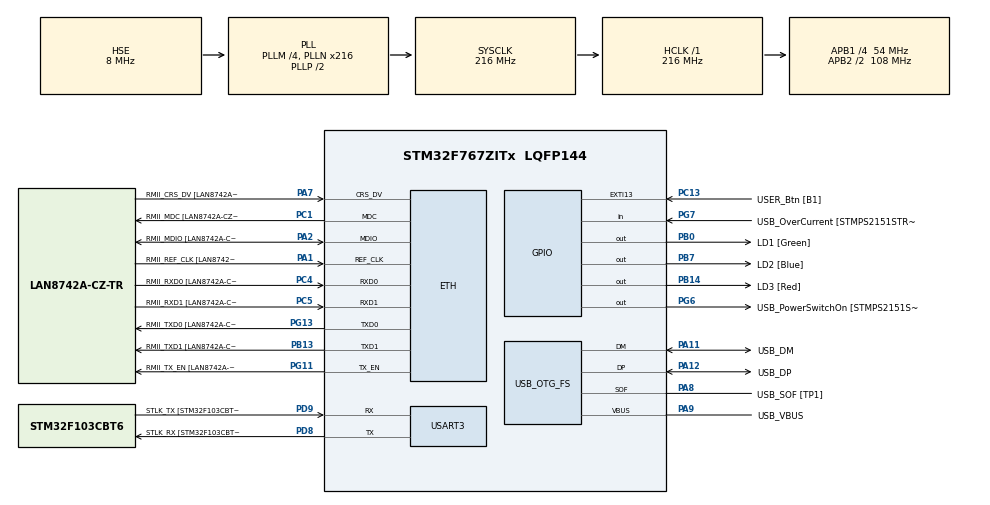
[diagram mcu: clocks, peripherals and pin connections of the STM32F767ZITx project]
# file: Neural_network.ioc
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CORTEX_M7.CPU_DCache=Enabled
CORTEX_M7.CPU_ICache=Enabled
ETH.MediaInterface=HAL_ETH_RMII_MODE
ETH.PHY_Name=LAN8742A_PHY_ADDRESS
ETH.PHY_Value=0
ETH.PhyAddress=0
Mcu.Family=STM32F7
Mcu.Name=STM32F767ZITx
Mcu.Package=LQFP144
NVIC.PriorityGroup=NVIC_PRIORITYGROUP_4
NVIC.TIM8_TRG_COM_TIM14_IRQn=true\:0\:0\:false\:false\:true\:true\:true\:true
NVIC.TIM8_UP_TIM13_IRQn=true\:0\:0\:false\:false\:true\:true\:true\:true
PA1.GPIO_Label=RMII_REF_CLK [LAN8742A-CZ-TR_REFCLK0]
PA1.Mode=RMII
PA1.Signal=ETH_REF_CLK
PA10.GPIO_Label=USB_ID
PA10.Signal=USB_OTG_FS_ID
PA11.GPIO_Label=USB_DM
PA11.Mode=Device_Only
PA11.Signal=USB_OTG_FS_DM
PA12.GPIO_Label=USB_DP
PA12.Mode=Device_Only
PA12.Signal=USB_OTG_FS_DP
PA13.GPIO_Label=TMS
PA13.Mode=Serial_Wire
PA13.Signal=SYS_JTMS-SWDIO
PA14.GPIO_Label=TCK
PA14.Mode=Serial_Wire
PA14.Signal=SYS_JTCK-SWCLK
PA2.GPIO_Label=RMII_MDIO [LAN8742A-CZ-TR_MDIO]
PA2.Mode=RMII
PA2.Signal=ETH_MDIO
PA7.GPIO_Label=RMII_CRS_DV [LAN8742A-CZ-TR_CRS_DV]
PA7.Mode=RMII
PA7.Signal=ETH_CRS_DV
PA8.GPIO_Label=USB_SOF [TP1]
PA8.Mode=Activate_SOF_FS
PA8.Signal=USB_OTG_FS_SOF
PA9.GPIO_Label=USB_VBUS
PA9.Mode=Activate_VBUS
PA9.Signal=USB_OTG_FS_VBUS
PB0.GPIO_Label=LD1 [Green]
PB0.Signal=GPIO_Output
PB13.GPIO_Label=RMII_TXD1 [LAN8742A-CZ-TR_TXD1]
PB13.Mode=RMII
PB13.Signal=ETH_TXD1
PB14.GPIO_Label=LD3 [Red]
PB14.Signal=GPIO_Output
PB3.GPIO_Label=SWO
PB3.Signal=SYS_JTDO-SWO
PB7.GPIO_Label=LD2 [Blue]
PB7.Signal=GPIO_Output
PC1.GPIO_Label=RMII_MDC [LAN8742A-CZ-TR_MDC]
PC1.Mode=RMII
PC1.Signal=ETH_MDC
PC13.GPIO_Label=USER_Btn [B1]
PC13.Signal=GPXTI13
PC14/OSC32_IN.Mode=LSE-External-Oscillator
PC14/OSC32_IN.Signal=RCC_OSC32_IN
PC15/OSC32_OUT.Mode=LSE-External-Oscillator
PC15/OSC32_OUT.Signal=RCC_OSC32_OUT
PC4.GPIO_Label=RMII_RXD0 [LAN8742A-CZ-TR_RXD0]
PC4.Mode=RMII
PC4.Signal=ETH_RXD0
PC5.GPIO_Label=RMII_RXD1 [LAN8742A-CZ-TR_RXD1]
PC5.Mode=RMII
PC5.Signal=ETH_RXD1
PD8.GPIO_Label=STLK_RX [STM32F103CBT6_PA3]
PD8.Mode=Asynchronous
PD8.Signal=USART3_TX
PD9.GPIO_Label=STLK_TX [STM32F103CBT6_PA2]
PD9.Mode=Asynchronous
PD9.Signal=USART3_RX
PG11.GPIO_Label=RMII_TX_EN [LAN8742A-CZ-TR_TXEN]
PG11.Mode=RMII
PG11.Signal=ETH_TX_EN
PG13.GPIO_Label=RMII_TXD0 [LAN8742A-CZ-TR_TXD0]
PG13.Mode=RMII
PG13.Signal=ETH_TXD0
PG6.GPIO_Label=USB_PowerSwitchOn [STMPS2151STR_EN]
PG6.Signal=GPIO_Output
PG7.GPIO_Label=USB_OverCurrent [STMPS2151STR_FAULT]
PG7.Signal=GPIO_Input
PH0/OSC_IN.GPIO_Label=MCO [STM32F103CBT6_PA8]
PH0/OSC_IN.Mode=HSE-External-Clock-Source
PH0/OSC_IN.Signal=RCC_OSC_IN
PH1/OSC_OUT.Mode=HSE-External-Clock-Source
PH1/OSC_OUT.Signal=RCC_OSC_OUT
ProjectManager.HeapSize=0x800
ProjectManager.StackSize=0x1000
ProjectManager.TargetToolchain=STM32CubeIDE
RCC.48MHZClocksFreq_Value=24000000
RCC.AHBFreq_Value=216000000
RCC.APB1CLKDivider=RCC_HCLK_DIV4
RCC.APB1Freq_Value=54000000
RCC.APB1TimFreq_Value=108000000
RCC.APB2CLKDivider=RCC_HCLK_DIV2
RCC.APB2Freq_Value=108000000
RCC.APB2TimFreq_Value=216000000
RCC.CortexFreq_Value=216000000
RCC.HCLKFreq_Value=216000000
RCC.HSE_VALUE=8000000
RCC.HSI_VALUE=16000000
RCC.PLLM=4
RCC.PLLMUL=RCC_PLL_MUL9
RCC.PLLN=216
RCC.PLLP=2
RCC.PLLQ=9
RCC.PRESCALERUSB=RCC_USBCLKSOURCE_PLL_DIV1_5
RCC.SYSCLKFreq_VALUE=216000000
RCC.SYSCLKSource=RCC_SYSCLKSOURCE_PLLCLK
RCC.SYSCLKSourceVirtual=RCC_SYSCLKSOURCE_PLLCLK
RCC.USBFreq_Value=48000000
RCC.VCOOutputFreq_Value=432000000
STMicroelectronics.X-CUBE-AI.7.2.0.ActivationBufferSizeList=2020
STMicroelectronics.X-CUBE-AI.7.2.0.ActivationBuffers=pool0
STMicroelectronics.X-CUBE-AI.7.2.0.ActivationNames=pool0
STMicroelectronics.X-CUBE-AI.7.2.0.ActivationSizes=AI_LSTM_DATA_ACTIVATION_1_SIZE
STMicroelectronics.X-CUBE-AI.7.2.0.HeapSize=0x800
STMicroelectronics.X-CUBE-AI.7.2.0.InternalRamActivationBufferMaxSize=AI_LSTM_DATA_ACTIVATIONS_SIZE
STMicroelectronics.X-CUBE-AI.7.2.0.LatestDirectoryUsed-919506d7ae7f6eba08876a655607a5188e266782ce65bb05c405057a45fd97c1=C\:\\Users\\Borun Liu\\Downloads
STMicroelectronics.X-CUBE-AI.7.2.0.MaximumNumberOfInputLayer=1
STMicroelectronics.X-CUBE-AI.7.2.0.MaximumNumberOfOutputLayer=1
STMicroelectronics.X-CUBE-AI.7.2.0.MaximumSizeOfInputLayer=1
STMicroelectronics.X-CUBE-AI.7.2.0.MaximumSizeOfOutputLayer=1
STMicroelectronics.X-CUBE-AI.7.2.0.ModelActualCompression-919506d7ae7f6eba08876a655607a5188e266782ce65bb05c405057a45fd97c1=0.0
STMicroelectronics.X-CUBE-AI.7.2.0.ModelCompression-919506d7ae7f6eba08876a655607a5188e266782ce65bb05c405057a45fd97c1=None
STMicroelectronics.X-CUBE-AI.7.2.0.ModelFlashOccupation-919506d7ae7f6eba08876a655607a5188e266782ce65bb05c405057a45fd97c1=22248
STMicroelectronics.X-CUBE-AI.7.2.0.ModelHashList=919506d7ae7f6eba08876a655607a5188e266782ce65bb05c405057a45fd97c1
STMicroelectronics.X-CUBE-AI.7.2.0.ModelKind-919506d7ae7f6eba08876a655607a5188e266782ce65bb05c405057a45fd97c1=KERAS
STMicroelectronics.X-CUBE-AI.7.2.0.ModelMacc-919506d7ae7f6eba08876a655607a5188e266782ce65bb05c405057a45fd97c1=2324
STMicroelectronics.X-CUBE-AI.7.2.0.ModelName-919506d7ae7f6eba08876a655607a5188e266782ce65bb05c405057a45fd97c1=lstm
STMicroelectronics.X-CUBE-AI.7.2.0.ModelNameList=lstm
STMicroelectronics.X-CUBE-AI.7.2.0.ModelRamOccupation-919506d7ae7f6eba08876a655607a5188e266782ce65bb05c405057a45fd97c1=2020
STMicroelectronics.X-CUBE-AI.7.2.0.ModelStructureFile-919506d7ae7f6eba08876a655607a5188e266782ce65bb05c405057a45fd97c1=C\:\\Users\\Borun Liu\\Downloads\\model_54.h5
STMicroelectronics.X-CUBE-AI.7.2.0.ModelType-919506d7ae7f6eba08876a655607a5188e266782ce65bb05c405057a45fd97c1=Saved model
STMicroelectronics.X-CUBE-AI.7.2.0.ReadyForCodeGeneration=true
STMicroelectronics.X-CUBE-AI.7.2.0.StackSize=0x1000
STMicroelectronics.X-CUBE-AI.7.2.0.ValidationInputFileHistory-919506d7ae7f6eba08876a655607a5188e266782ce65bb05c405057a45fd97c1=C\:\\ST\\quan\\out\\model_minmax_06_sep_2022_16_03\\model_reference.npz
STMicroelectronics.X-CUBE-AI.7.2.0.WorkingBufferStartAddrList=0xFFFFFFFF
STMicroelectronics.X-CUBE-AI.7.2.0.XAaCUBEAaAICcArtificialOoIntelligenceJjCore=true
STMicroelectronics.X-CUBE-AI.7.2.0.copyWeightToRam-919506d7ae7f6eba08876a655607a5188e266782ce65bb05c405057a45fd97c1=false
STMicroelectronics.X-CUBE-AI.7.2.0.customLayerConfigEnabled-919506d7ae7f6eba08876a655607a5188e266782ce65bb05c405057a45fd97c1=false
STMicroelectronics.X-CUBE-AI.7.2.0.useInputAllocation-919506d7ae7f6eba08876a655607a5188e266782ce65bb05c405057a45fd97c1=true
STMicroelectronics.X-CUBE-AI.7.2.0.useOutputAllocation-919506d7ae7f6eba08876a655607a5188e266782ce65bb05c405057a45fd97c1=true
USART3.VirtualMode-Asynchronous=VM_ASYNC
USB_OTG_FS.VirtualMode=Device_Only
VP_CRC_VS_CRC.Mode=CRC_Activate
VP_RNG_VS_RNG.Mode=RNG_Activate
VP_STMicroelectronics.X-CUBE-AI_VS_ArtificialOoIntelligenceJjXAaCUBEAaAI_7.2.0.Mode=ArtificialOoIntelligenceJjXAaCUBEAaAI
VP_TIM13_VS_ClockSourceINT.Mode=Enable_Timer
VP_TIM14_VS_ClockSourceINT.Mode=Enable_Timer
board=NUCLEO-F767ZI

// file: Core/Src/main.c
/* USER CODE BEGIN Header */
/**
 ******************************************************************************
 * @file           : main.c
 * @brief          : Main program body
 ******************************************************************************
 * @attention
 *
 * Copyright (c) 2022 STMicroelectronics.
 * All rights reserved.
 *
 * This software is licensed under terms that can be found in the LICENSE file
 * in the root directory of this software component.
 * If no LICENSE file comes with this software, it is provided AS-IS.
 *
 ******************************************************************************
 */
/* USER CODE END Header */
#include "main.h"
#include "string.h"

/* USER CODE BEGIN Includes */
#include <stdio.h>
#include "ai_datatypes_defines.h"
#include "ai_platform.h"

#include "lstm.h"
#include "lstm_data.h"
#include "stm32f767xx.h"
#include "stdlib.h"

/* USER CODE END Includes */

/* USER CODE BEGIN PTD */
struct Out_param {
	float mean;
	float var;
};
/* USER CODE END PTD */

/* USER CODE BEGIN PD */
#define _getCounter(TIMx) LL_TIM_GetCounter(TIMx)
#define _startCounter(TIMx) configCounter(TIMx)
#define _stopCounter(TIMx) LL_TIM_DisableCounter(TIMx)
#define _resetCounter(TIMx,overflow) resetCounter(TIMx, overflow)
#define SIZEOF(a) (sizeof(a)/ sizeof(a[0]))
#define Max(a,b) (a>b?a:b)
//#define RAND_MAX 32767
/* USER CODE END PD */

#if defined ( __ICCARM__ ) /*!< IAR Compiler */
#pragma location=0x2007c000
ETH_DMADescTypeDef  DMARxDscrTab[ETH_RX_DESC_CNT]; /* Ethernet Rx DMA Descriptors */
#pragma location=0x2007c0a0
ETH_DMADescTypeDef  DMATxDscrTab[ETH_TX_DESC_CNT]; /* Ethernet Tx DMA Descriptors */

#elif defined ( __CC_ARM )  /* MDK ARM Compiler */

__attribute__((at(0x2007c000))) ETH_DMADescTypeDef  DMARxDscrTab[ETH_RX_DESC_CNT]; /* Ethernet Rx DMA Descriptors */
__attribute__((at(0x2007c0a0))) ETH_DMADescTypeDef  DMATxDscrTab[ETH_TX_DESC_CNT]; /* Ethernet Tx DMA Descriptors */

#elif defined ( __GNUC__ ) /* GNU Compiler */
ETH_DMADescTypeDef DMARxDscrTab[ETH_RX_DESC_CNT] __attribute__((section(".RxDecripSection"))); /* Ethernet Rx DMA Descriptors */
ETH_DMADescTypeDef DMATxDscrTab[ETH_TX_DESC_CNT] __attribute__((section(".TxDecripSection"))); /* Ethernet Tx DMA Descriptors */

#endif

ETH_TxPacketConfig TxConfig;

CRC_HandleTypeDef hcrc;

ETH_HandleTypeDef heth;

PCD_HandleTypeDef hpcd_USB_OTG_FS;

/* USER CODE BEGIN PV */
int f_apb1clk = 108e6;
int overflow_1 = 0;
int overflow_2 = 0;
float timeX = 0.f;
float timeY = 0.f;

char buf[50];
int buf_len = 0;
ai_error ai_err;
ai_i32 nbatch;
uint32_t timestamp;
float y_val;

//variables for cusum
struct Out_param outparam;
float cp, cm = 0.f;
/* USER CODE END PV */

void SystemClock_Config(void);
static void MX_GPIO_Init(void);
static void MX_ETH_Init(void);
static void MX_USART3_UART_Init(void);
static void MX_USB_OTG_FS_PCD_Init(void);
static void MX_CRC_Init(void);
static void MX_TIM14_Init(void);
static void MX_TIM13_Init(void);
static void MX_RNG_Init(void);
/* USER CODE BEGIN PFP */
uint8_t sendDebugMsg(char *msg);
void configCounter(TIM_TypeDef *TIMx);
float getTimeus(TIM_TypeDef *TIMx, int overflow);
void resetCounter(TIM_TypeDef *TIMx, int *overflow);
float PCATransformTest(int in_dim, const int out_dim, int cycles);
void randomInput(float *inBuffer, int count);
void randomMatrix(float *PCABuffer, int row, int column);
void calcPCA(float *output, float *input, float *matrix, int row, int column);
float modelRun(float *input, int length, float *prediction);
void normalizationPred(float *pred, struct Out_param outparam);
float calcCP(float *pred, struct Out_param outparam, float w);
float calcCM(float *pred, struct Out_param outparam, float w);
/* USER CODE END PFP */

int main(void) {
	/* USER CODE BEGIN 1 */

//	ai_float mu[3] = { 1.39730766, 41.25205743, 16.35722421 };
//	ai_float std[3] = { 0.06754268, 0.07502506, 0.03128953 };
// if we don't use PCA
	/* USER CODE END 1 */

	/* Enable I-Cache---------------------------------------------------------*/
	SCB_EnableICache();

	/* Enable D-Cache---------------------------------------------------------*/
	SCB_EnableDCache();

	/* MCU Configuration--------------------------------------------------------*/

	/* Reset of all peripherals, Initializes the Flash interface and the Systick. */
	HAL_Init();

	/* Configure the system clock */
	SystemClock_Config();

	/* Initialize all configured peripherals */
	MX_GPIO_Init();
	MX_ETH_Init();
	MX_USART3_UART_Init();
	MX_USB_OTG_FS_PCD_Init();
	MX_CRC_Init();
	MX_TIM14_Init();
	MX_TIM13_Init();
	MX_RNG_Init();
	/* USER CODE BEGIN 2 */
	outparam.mean = 0.0338695f;
	outparam.var = 0.00167553f;
	float w = outparam.var;
	static int in_shape = 3;
	static int timestep = 4;
	static int pca_dimension = 4;
//	float t1 = PCATransformTest(in_shape, pca_dimension, 100); // This function can be used with only 3 param, no need of input array.

	float in[in_shape][timestep];
	randomInput(in, in_shape * timestep);

//	float pca_matrix[pca_dimension][in_shape];
//	randomMatrix(pca_matrix, pca_dimension, in_shape);

//	float out[pca_dimension];
	float pred = 0.f;
//	calcPCA(out, in, pca_matrix, pca_dimension, in_shape);
//	for (int i = 0; i < 100; i++) {
//		timeX += modelRun(in, SIZEOF(in), &pred);
//	}
//	timeX = timeX / 100;
	timeX = modelRun(in, SIZEOF(in), &pred);
	normalizationPred(&pred, outparam);
	_startCounter(TIM13);
	float cp = calcCP(&pred, outparam, w);
	float cm = calcCM(&pred, outparam, w);
	_stopCounter(TIM13);
	timeX = getTimeus(TIM13, overflow_2);
	resetCounter(TIM13, &overflow_2);
	if (cp > 5 || cm > 5) {

	}
//	float pca_matrix[2][6] = { { -0.44280883, -0.36813074, -0.48279947,
//			-0.48280469, -0.44967144, -0.44967144 }, { -0.47070612, 0.74485537,
//			0.13377964, 0.13367727, -0.43342776, -0.44967144 } };

	/* USER CODE END 2 */

	/* Infinite loop */
	while (1) {

	}
}

void SystemClock_Config(void) {
	RCC_OscInitTypeDef RCC_OscInitStruct = { 0 };
	RCC_ClkInitTypeDef RCC_ClkInitStruct = { 0 };

	/** Configure LSE Drive Capability
	 */
	HAL_PWR_EnableBkUpAccess();

	/** Configure the main internal regulator output voltage
	 */
	__HAL_RCC_PWR_CLK_ENABLE();
	__HAL_PWR_VOLTAGESCALING_CONFIG(PWR_REGULATOR_VOLTAGE_SCALE1);

	/** Initializes the RCC Oscillators according to the specified parameters
	 * in the RCC_OscInitTypeDef structure.
	 */
	RCC_OscInitStruct.OscillatorType = RCC_OSCILLATORTYPE_HSE;
	RCC_OscInitStruct.HSEState = RCC_HSE_BYPASS;
	RCC_OscInitStruct.PLL.PLLState = RCC_PLL_ON;
	RCC_OscInitStruct.PLL.PLLSource = RCC_PLLSOURCE_HSE;
	RCC_OscInitStruct.PLL.PLLM = 4;
	RCC_OscInitStruct.PLL.PLLN = 216;
	RCC_OscInitStruct.PLL.PLLP = 2;
	RCC_OscInitStruct.PLL.PLLQ = 9;
	RCC_OscInitStruct.PLL.PLLR = 2;
	if (HAL_RCC_OscConfig(&RCC_OscInitStruct) != HAL_OK) {
		Error_Handler();
	}

	/** Activate the Over-Drive mode
	 */
	if (HAL_PWREx_EnableOverDrive() != HAL_OK) {
		Error_Handler();
	}

	/** Initializes the CPU, AHB and APB buses clocks
	 */
	RCC_ClkInitStruct.ClockType = RCC_CLOCKTYPE_HCLK | RCC_CLOCKTYPE_SYSCLK
			| RCC_CLOCKTYPE_PCLK1 | RCC_CLOCKTYPE_PCLK2;
	RCC_ClkInitStruct.SYSCLKSource = RCC_SYSCLKSOURCE_PLLCLK;
	RCC_ClkInitStruct.AHBCLKDivider = RCC_SYSCLK_DIV1;
	RCC_ClkInitStruct.APB1CLKDivider = RCC_HCLK_DIV4;
	RCC_ClkInitStruct.APB2CLKDivider = RCC_HCLK_DIV2;

	if (HAL_RCC_ClockConfig(&RCC_ClkInitStruct, FLASH_LATENCY_7) != HAL_OK) {
		Error_Handler();
	}
}

static void MX_CRC_Init(void) {

	hcrc.Instance = CRC;
	hcrc.Init.DefaultPolynomialUse = DEFAULT_POLYNOMIAL_ENABLE;
	hcrc.Init.DefaultInitValueUse = DEFAULT_INIT_VALUE_ENABLE;
	hcrc.Init.InputDataInversionMode = CRC_INPUTDATA_INVERSION_NONE;
	hcrc.Init.OutputDataInversionMode = CRC_OUTPUTDATA_INVERSION_DISABLE;
	hcrc.InputDataFormat = CRC_INPUTDATA_FORMAT_BYTES;
	if (HAL_CRC_Init(&hcrc) != HAL_OK) {
		Error_Handler();
	}

}

static void MX_ETH_Init(void) {

	static uint8_t MACAddr[6];

	heth.Instance = ETH;
	MACAddr[0] = 0x00;
	MACAddr[1] = 0x80;
	MACAddr[2] = 0xE1;
	MACAddr[3] = 0x00;
	MACAddr[4] = 0x00;
	MACAddr[5] = 0x00;
	heth.Init.MACAddr = &MACAddr[0];
	heth.Init.MediaInterface = HAL_ETH_RMII_MODE;
	heth.Init.TxDesc = DMATxDscrTab;
	heth.Init.RxDesc = DMARxDscrTab;
	heth.Init.RxBuffLen = 1524;

	if (HAL_ETH_Init(&heth) != HAL_OK) {
		Error_Handler();
	}

	memset(&TxConfig, 0, sizeof(ETH_TxPacketConfig));
	TxConfig.Attributes = ETH_TX_PACKETS_FEATURES_CSUM
			| ETH_TX_PACKETS_FEATURES_CRCPAD;
	TxConfig.ChecksumCtrl = ETH_CHECKSUM_IPHDR_PAYLOAD_INSERT_PHDR_CALC;
	TxConfig.CRCPadCtrl = ETH_CRC_PAD_INSERT;

}

static void MX_RNG_Init(void) {

	RCC_PeriphCLKInitTypeDef PeriphClkInitStruct = { 0 };

	/** Initializes the peripherals clock
	 */
	PeriphClkInitStruct.PeriphClockSelection = RCC_PERIPHCLK_CLK48;
	PeriphClkInitStruct.Clk48ClockSelection = RCC_CLK48SOURCE_PLL;
	if (HAL_RCCEx_PeriphCLKConfig(&PeriphClkInitStruct) != HAL_OK) {
		Error_Handler();
	}

	/* Peripheral clock enable */
	LL_AHB2_GRP1_EnableClock(LL_AHB2_GRP1_PERIPH_RNG);

	LL_RNG_Enable(RNG);

}

static void MX_TIM13_Init(void) {

	LL_TIM_InitTypeDef TIM_InitStruct = { 0 };

	/* Peripheral clock enable */
	LL_APB1_GRP1_EnableClock(LL_APB1_GRP1_PERIPH_TIM13);

	/* TIM13 interrupt Init */
	NVIC_SetPriority(TIM8_UP_TIM13_IRQn,
			NVIC_EncodePriority(NVIC_GetPriorityGrouping(), 0, 0));
	NVIC_EnableIRQ(TIM8_UP_TIM13_IRQn);

	TIM_InitStruct.Prescaler = 0;
	TIM_InitStruct.CounterMode = LL_TIM_COUNTERMODE_UP;
	TIM_InitStruct.Autoreload = 65535;
	TIM_InitStruct.ClockDivision = LL_TIM_CLOCKDIVISION_DIV1;
	LL_TIM_Init(TIM13, &TIM_InitStruct);
	LL_TIM_DisableARRPreload(TIM13);

}

static void MX_TIM14_Init(void) {

	LL_TIM_InitTypeDef TIM_InitStruct = { 0 };

	/* Peripheral clock enable */
	LL_APB1_GRP1_EnableClock(LL_APB1_GRP1_PERIPH_TIM14);

	/* TIM14 interrupt Init */
	NVIC_SetPriority(TIM8_TRG_COM_TIM14_IRQn,
			NVIC_EncodePriority(NVIC_GetPriorityGrouping(), 0, 0));
	NVIC_EnableIRQ(TIM8_TRG_COM_TIM14_IRQn);

	TIM_InitStruct.Prescaler = 0;
	TIM_InitStruct.CounterMode = LL_TIM_COUNTERMODE_UP;
	TIM_InitStruct.Autoreload = 65535;
	TIM_InitStruct.ClockDivision = LL_TIM_CLOCKDIVISION_DIV1;
	LL_TIM_Init(TIM14, &TIM_InitStruct);
	LL_TIM_DisableARRPreload(TIM14);

}

static void MX_USART3_UART_Init(void) {

	LL_USART_InitTypeDef USART_InitStruct = { 0 };

	LL_GPIO_InitTypeDef GPIO_InitStruct = { 0 };
	RCC_PeriphCLKInitTypeDef PeriphClkInitStruct = { 0 };

	/** Initializes the peripherals clock
	 */
	PeriphClkInitStruct.PeriphClockSelection = RCC_PERIPHCLK_USART3;
	PeriphClkInitStruct.Usart3ClockSelection = RCC_USART3CLKSOURCE_PCLK1;
	if (HAL_RCCEx_PeriphCLKConfig(&PeriphClkInitStruct) != HAL_OK) {
		Error_Handler();
	}

	/* Peripheral clock enable */
	LL_APB1_GRP1_EnableClock(LL_APB1_GRP1_PERIPH_USART3);

	LL_AHB1_GRP1_EnableClock(LL_AHB1_GRP1_PERIPH_GPIOD);
	/**USART3 GPIO Configuration
	 PD8   ------> USART3_TX
	 PD9   ------> USART3_RX
	 */
	GPIO_InitStruct.Pin = LL_GPIO_PIN_8;
	GPIO_InitStruct.Mode = LL_GPIO_MODE_ALTERNATE;
	GPIO_InitStruct.Speed = LL_GPIO_SPEED_FREQ_VERY_HIGH;
	GPIO_InitStruct.OutputType = LL_GPIO_OUTPUT_PUSHPULL;
	GPIO_InitStruct.Pull = LL_GPIO_PULL_NO;
	GPIO_InitStruct.Alternate = LL_GPIO_AF_7;
	LL_GPIO_Init(GPIOD, &GPIO_InitStruct);

	GPIO_InitStruct.Pin = LL_GPIO_PIN_9;
	GPIO_InitStruct.Mode = LL_GPIO_MODE_ALTERNATE;
	GPIO_InitStruct.Speed = LL_GPIO_SPEED_FREQ_VERY_HIGH;
	GPIO_InitStruct.OutputType = LL_GPIO_OUTPUT_PUSHPULL;
	GPIO_InitStruct.Pull = LL_GPIO_PULL_NO;
	GPIO_InitStruct.Alternate = LL_GPIO_AF_7;
	LL_GPIO_Init(GPIOD, &GPIO_InitStruct);

	USART_InitStruct.BaudRate = 115200;
	USART_InitStruct.DataWidth = LL_USART_DATAWIDTH_8B;
	USART_InitStruct.StopBits = LL_USART_STOPBITS_1;
	USART_InitStruct.Parity = LL_USART_PARITY_NONE;
	USART_InitStruct.TransferDirection = LL_USART_DIRECTION_TX_RX;
	USART_InitStruct.HardwareFlowControl = LL_USART_HWCONTROL_NONE;
	USART_InitStruct.OverSampling = LL_USART_OVERSAMPLING_16;
	LL_USART_Init(USART3, &USART_InitStruct);
	LL_USART_ConfigAsyncMode(USART3);
	LL_USART_Enable(USART3);

}

static void MX_USB_OTG_FS_PCD_Init(void) {

	hpcd_USB_OTG_FS.Instance = USB_OTG_FS;
	hpcd_USB_OTG_FS.Init.dev_endpoints = 6;
	hpcd_USB_OTG_FS.Init.speed = PCD_SPEED_FULL;
	hpcd_USB_OTG_FS.Init.dma_enable = DISABLE;
	hpcd_USB_OTG_FS.Init.phy_itface = PCD_PHY_EMBEDDED;
	hpcd_USB_OTG_FS.Init.Sof_enable = ENABLE;
	hpcd_USB_OTG_FS.Init.low_power_enable = DISABLE;
	hpcd_USB_OTG_FS.Init.lpm_enable = DISABLE;
	hpcd_USB_OTG_FS.Init.vbus_sensing_enable = ENABLE;
	hpcd_USB_OTG_FS.Init.use_dedicated_ep1 = DISABLE;
	if (HAL_PCD_Init(&hpcd_USB_OTG_FS) != HAL_OK) {
		Error_Handler();
	}

}

static void MX_GPIO_Init(void) {
	GPIO_InitTypeDef GPIO_InitStruct = { 0 };

	/* GPIO Ports Clock Enable */
	__HAL_RCC_GPIOC_CLK_ENABLE();
	__HAL_RCC_GPIOH_CLK_ENABLE();
	__HAL_RCC_GPIOA_CLK_ENABLE();
	__HAL_RCC_GPIOB_CLK_ENABLE();
	__HAL_RCC_GPIOD_CLK_ENABLE();
	__HAL_RCC_GPIOG_CLK_ENABLE();

	/*Configure GPIO pin Output Level */
	HAL_GPIO_WritePin(GPIOB, LD1_Pin | LD3_Pin | LD2_Pin, GPIO_PIN_RESET);

	/*Configure GPIO pin Output Level */
	HAL_GPIO_WritePin(USB_PowerSwitchOn_GPIO_Port, USB_PowerSwitchOn_Pin,
			GPIO_PIN_RESET);

	/*Configure GPIO pin : USER_Btn_Pin */
	GPIO_InitStruct.Pin = USER_Btn_Pin;
	GPIO_InitStruct.Mode = GPIO_MODE_IT_RISING;
	GPIO_InitStruct.Pull = GPIO_NOPULL;
	HAL_GPIO_Init(USER_Btn_GPIO_Port, &GPIO_InitStruct);

	/*Configure GPIO pins : LD1_Pin LD3_Pin LD2_Pin */
	GPIO_InitStruct.Pin = LD1_Pin | LD3_Pin | LD2_Pin;
	GPIO_InitStruct.Mode = GPIO_MODE_OUTPUT_PP;
	GPIO_InitStruct.Pull = GPIO_NOPULL;
	GPIO_InitStruct.Speed = GPIO_SPEED_FREQ_LOW;
	HAL_GPIO_Init(GPIOB, &GPIO_InitStruct);

	/*Configure GPIO pin : USB_PowerSwitchOn_Pin */
	GPIO_InitStruct.Pin = USB_PowerSwitchOn_Pin;
	GPIO_InitStruct.Mode = GPIO_MODE_OUTPUT_PP;
	GPIO_InitStruct.Pull = GPIO_NOPULL;
	GPIO_InitStruct.Speed = GPIO_SPEED_FREQ_LOW;
	HAL_GPIO_Init(USB_PowerSwitchOn_GPIO_Port, &GPIO_InitStruct);

	/*Configure GPIO pin : USB_OverCurrent_Pin */
	GPIO_InitStruct.Pin = USB_OverCurrent_Pin;
	GPIO_InitStruct.Mode = GPIO_MODE_INPUT;
	GPIO_InitStruct.Pull = GPIO_NOPULL;
	HAL_GPIO_Init(USB_OverCurrent_GPIO_Port, &GPIO_InitStruct);

}

/* USER CODE BEGIN 4 */
uint8_t sendDebugMsg(char *msg) {
	uint8_t state = 0;
	LL_USART_ClearFlag_TC(USART3);
	uint8_t i = 0;
	do {
//		while(!LL_USART_IsActiveFlag_TXE(USART_PC));
		LL_USART_TransmitData8(USART3, *(msg + i));
		i++;
		while (!LL_USART_IsActiveFlag_TC(USART3))
			;
		LL_USART_ClearFlag_TC(USART3);
	} while (*(msg + i) != '\0');
	state = 1;
	memset(msg, 0, i);
	return state;
}

void configCounter(TIM_TypeDef *TIMx) {
	LL_TIM_EnableIT_UPDATE(TIMx);
	LL_TIM_ClearFlag_UPDATE(TIMx);
	LL_TIM_EnableCounter(TIMx);
}

float getTimeus(TIM_TypeDef *TIMx, int overflow) {
	uint32_t counter = _getCounter(TIMx);
	float dt = 1e6 / f_apb1clk;
	float overflowCounter = overflow * (LL_TIM_GetAutoReload(TIMx) + 1);
	return (counter + overflowCounter) * dt;
}

void resetCounter(TIM_TypeDef *TIMx, int *overflow) {
	LL_TIM_SetCounter(TIMx, 0x0);
	*overflow = 0;
}

float PCATransformTest(int in_dim, const int out_dim, int cycles) {
	float out[out_dim];
	float in[in_dim];
	float pca_matrix[out_dim][in_dim];
	float T_tot = 0.f;

	// init for in and pca_matrix
	for (int i = 0; i < in_dim; i++) {
		in[i] = (float) rand() / RAND_MAX;
	}
	for (int j = 0; j < out_dim; j++) {
		for (int i = 0; i < in_dim; i++) {
			pca_matrix[j][i] = (float) rand() / RAND_MAX;
		}
	}

	for (int c = 0; c < cycles; c++) {
		_startCounter(TIM13);
		for (int j = 0; j < out_dim; j++) {
			for (int i = 0; i < in_dim; i++) {
				out[j] += pca_matrix[j][i] * in[i];
			}
		}
		_stopCounter(TIM13);
		timeY = getTimeus(TIM13, overflow_2);
		_resetCounter(TIM13, &overflow_2);
		T_tot += timeY;
	}

	return T_tot / cycles;
}

void randomInput(float *inBuffer, int count) {
	for (int i = 0; i < count; i++) {
		inBuffer[i] = (float) rand() / RAND_MAX;
//		inBuffer[i] = 100*i; // For test usage
	}
}

void randomMatrix(float *PCABuffer, int row, int column) {
	for (int i = 0; i < row; i++) {
		for (int j = 0; j < column; j++) {
			PCABuffer[i * column + j] = (float) rand() / RAND_MAX;
//			PCABuffer[i * column + j] = i * column + j; // For test usage
		}
	}
}

void calcPCA(float *output, float *input, float *matrix, int row, int column) {
	for (int i = 0; i < row; i++) {
		output[i] = 0;
	}
	for (int i = 0; i < row; i++) {
		for (int j = 0; j < column; j++) {
			output[i] += matrix[i * column + j] * input[j];
		}
	}
}

float modelRun(float *input, int length, float *prediction) {
	ai_u8 activations[AI_LSTM_DATA_ACTIVATIONS_SIZE];
	ai_i8 in_data[AI_LSTM_IN_1_SIZE_BYTES];
	ai_i8 out_data[AI_LSTM_OUT_1_SIZE_BYTES];

	ai_handle network = AI_HANDLE_NULL;
	ai_buffer *ai_input;
	ai_buffer *ai_output;
	ai_error err;
	ai_network_report report;
	float time = 0.f;

	const ai_handle acts[] = { activations };
	err = ai_lstm_create_and_init(&network, acts, NULL);
	if (err.type != AI_ERROR_NONE) {
		sprintf(buf, "\r\n\r\nai init_and_create error\n\r\n");
		sendDebugMsg(buf);
		return -1;
	} else {
		sprintf(buf, "\r\n\r\nai init_and_create finished\n\r\n");
		sendDebugMsg(buf);
	}
	if (ai_lstm_get_report(network, &report) != true) {
		sprintf(buf, "ai get report error\n");
		sendDebugMsg(buf);
		return -1;
	} else {
		sprintf(buf, "get report finished\r\n");
		sendDebugMsg(buf);
	}

	sprintf(buf, "Model name: %s\r\n", report.model_name);
	sendDebugMsg(buf);
	sprintf(buf, "Model signature: %s\r\n", report.model_signature);
	sendDebugMsg(buf);
	ai_input = &report.inputs[0];
	ai_output = &report.outputs[0];
	sprintf(buf, "input[0] : (%d, %d, %d)\r\n",
			AI_BUFFER_SHAPE_ELEM(ai_input, AI_SHAPE_HEIGHT),
			AI_BUFFER_SHAPE_ELEM(ai_input, AI_SHAPE_WIDTH),
			AI_BUFFER_SHAPE_ELEM(ai_input, AI_SHAPE_CHANNEL));
	sendDebugMsg(buf);
	sprintf(buf, "output[0] : (%d, %d, %d)\r\n",
			AI_BUFFER_SHAPE_ELEM(ai_output, AI_SHAPE_HEIGHT),
			AI_BUFFER_SHAPE_ELEM(ai_output, AI_SHAPE_WIDTH),
			AI_BUFFER_SHAPE_ELEM(ai_output, AI_SHAPE_CHANNEL));
	sendDebugMsg(buf);

	for (int i = 0; i < length; i++) {
		((ai_float*) in_data)[i] = (ai_float) input[i];
	}

//	((ai_float*) in_data)[1] = (ai_float) input[1];

	ai_i32 n_batch;
	ai_input = ai_lstm_inputs_get(network, NULL);
	ai_output = ai_lstm_outputs_get(network, NULL);
	/** @brief Set input/output buffer addresses */
	ai_input[0].data = AI_HANDLE_PTR(in_data);
	ai_output[0].data = AI_HANDLE_PTR(out_data);

	_startCounter(TIM14);
	n_batch = ai_lstm_run(network, &ai_input[0], &ai_output[0]);
	_stopCounter(TIM14);
	time = getTimeus(TIM14, overflow_1);
	resetCounter(TIM14, &overflow_1);
	if (n_batch != 1) {
		err = ai_lstm_get_error(network);
		printf("ai run error %d, %d\n", err.type, err.code);
		return -1;
	}
	prediction = ai_output[0].data;

	/** @brief Post-process the output results/predictions */
	printf("Inference output..\n");

//	sprintf(buf, "Avg Execution time: %f\r\n", T / 10);
//	sendDebugMsg(buf);
	return time;
}

void normalizationPred(float *pred, struct Out_param outparam) {
	*pred = (*pred - outparam.mean) / outparam.var;
}

float calcCP(float *pred, struct Out_param outparam, float w) {
	cp = Max(0, cp + *pred - w);
	return (cp);
}

float calcCM(float *pred, struct Out_param outparam, float w) {
	cm = Max(0, cm - *pred - w);
	return (cm);
}
/* USER CODE END 4 */

void Error_Handler(void) {
	__disable_irq();
	while (1) {
	}
}
